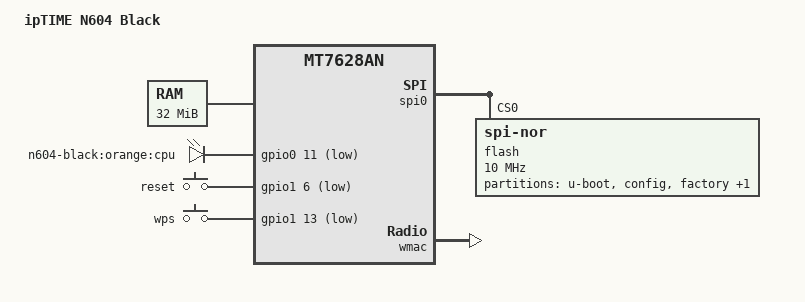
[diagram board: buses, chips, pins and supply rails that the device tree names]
/dts-v1/;

#include "mt7628an.dtsi"

#include <dt-bindings/gpio/gpio.h>
#include <dt-bindings/input/input.h>

/ {
	compatible = "iptime,n604-black", "mediatek,mt7628an-soc";
	model = "ipTIME N604 Black";

	memory@0 {
		device_type = "memory";
		reg = <0x0 0x2000000>;
	};

	leds {
		compatible = "gpio-leds";

		cpu {
			label = "n604-black:orange:cpu";
			gpios = <&gpio0 11 GPIO_ACTIVE_LOW>;
		};
	};

	keys {
		compatible = "gpio-keys";

		reset {
			label = "reset";
			gpios = <&gpio1 6 GPIO_ACTIVE_LOW>;
			linux,code = <KEY_RESTART>;
			debounce-interval = <60>;
		};

		wps {
			label = "wps";
			gpios = <&gpio1 13 GPIO_ACTIVE_LOW>;
			linux,code = <KEY_WPS_BUTTON>;
			debounce-interval = <60>;
		};
	};
};

&spi0 {
	status = "okay";

	flash@0 {
		#address-cells = <1>;
		#size-cells = <1>;
		compatible = "jedec,spi-nor";
		reg = <0>;
		spi-max-frequency = <10000000>;
		m25p,chunked-io = <32>;

		uboot: partition@0 {
			label = "u-boot";
			reg = <0x0 0x20000>;
			read-only;
		};

		partition@20000 {
			label = "config";
			reg = <0x20000 0x10000>;
			read-only;
		};

		factory: partition@30000 {
			label = "factory";
			reg = <0x30000 0x10000>;
			read-only;
		};

		partition@40000 {
			label = "firmware";
			reg = <0x40000 0x3c0000>;
		};
	};
};

&state_default {
	gpio {
		ralink,group = "uart1", "wdt";
		ralink,function = "gpio";
	};
};

&ehci {
	status = "disabled";
};

&ohci {
	status = "disabled";
};

&ethernet {
	mtd-mac-address = <&uboot 0x1fc20>;
};

&wmac {
	status = "okay";
};
